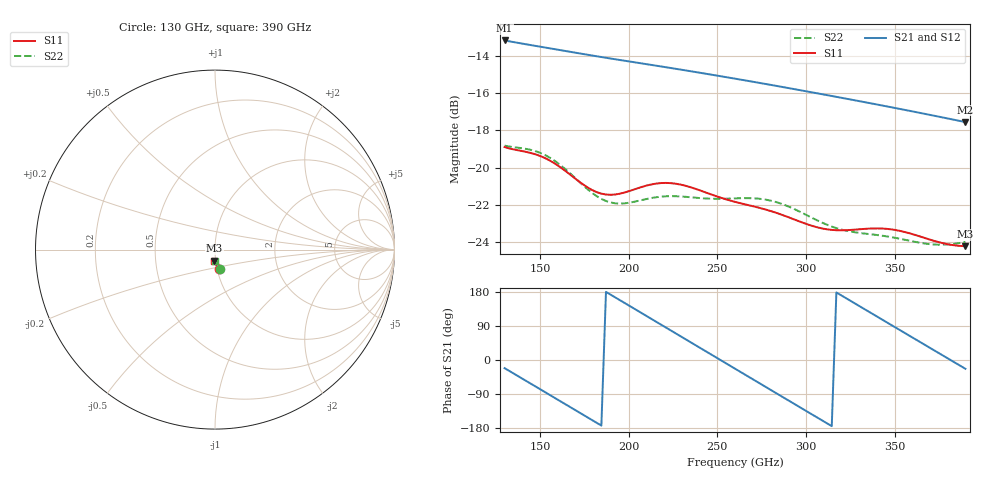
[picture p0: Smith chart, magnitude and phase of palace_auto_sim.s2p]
#  GHZ S DB R 50
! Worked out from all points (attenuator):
!   101 points, 130 GHz to 390 GHz, reference 50 ohm
!   highest |S21| = -13.15 dB at 130 GHz (marker M1); lowest = -17.5 dB at 390 GHz (marker M2)
!   lowest |S11| = -24.2 dB at 390 GHz (marker M3), VSWR 1.13, Z = 49.3 - j6.06 ohm
!   |S11| at or under -10 dB: start of sweep to end of sweep
!   |S22| runs from -24.2 to -18.8 dB; largest |S21 - S12| = 2.4e-13
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130  -18.90 -77.4  -13.15 -21.6  -13.15 -21.6  -18.82 -74.8
143  -19.17 -77.7  -13.37 -57.6  -13.37 -57.6  -19.01 -76.0
153.4  -19.52 -80.0  -13.54 -86.4  -13.54 -86.4  -19.35 -79.1
163.8  -20.15 -82.1  -13.71 -115.3  -13.71 -115.3  -20.05 -82.1
174.2  -20.91 -81.9  -13.87 -144.2  -13.87 -144.2  -20.95 -82.7
184.6  -21.41 -79.3  -14.04 -173.1  -14.04 -173.1  -21.69 -80.3
195  -21.41 -76.6  -14.20 158.0  -14.20 158.0  -21.94 -76.8
208  -21.03 -76.5  -14.39 121.9  -14.39 121.9  -21.74 -74.9
218.4  -20.84 -79.2  -14.55 93.0  -14.55 93.0  -21.57 -75.8
228.8  -20.91 -82.6  -14.71 64.0  -14.71 64.0  -21.56 -77.5
241.8  -21.29 -86.1  -14.91 27.8  -14.91 27.8  -21.66 -79.2
260  -21.85 -88.6  -15.21 -22.9  -15.21 -22.9  -21.66 -81.7
280.8  -22.37 -91.2  -15.55 -80.7  -15.55 -80.7  -21.80 -87.5
291.2  -22.72 -92.2  -15.73 -109.6  -15.73 -109.6  -22.14 -90.5
304.2  -23.16 -92.2  -15.96 -145.7  -15.96 -145.7  -22.75 -92.7
314.6  -23.36 -91.3  -16.14 -174.6  -16.14 -174.6  -23.18 -92.8
325  -23.37 -90.7  -16.33 156.6  -16.33 156.6  -23.45 -92.4
338  -23.28 -91.6  -16.56 120.6  -16.56 120.6  -23.61 -92.4
348.4  -23.34 -93.2  -16.75 91.8  -16.75 91.8  -23.76 -92.9
358.8  -23.55 -94.7  -16.95 63.0  -16.95 63.0  -23.95 -93.2
371.8  -23.94 -95.2  -17.19 27.1  -17.19 27.1  -24.15 -92.6
390  -24.24 -93.4  -17.55 -23.2  -17.55 -23.2  -24.01 -91.6
